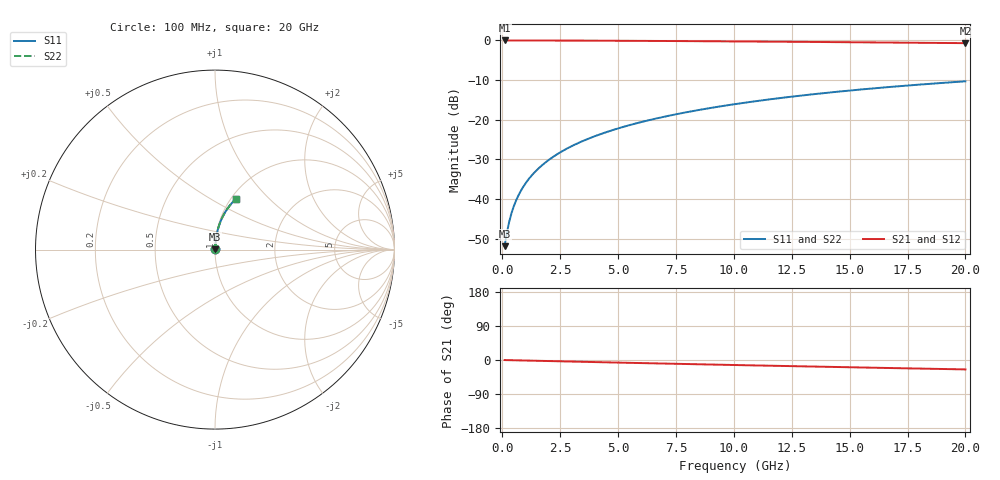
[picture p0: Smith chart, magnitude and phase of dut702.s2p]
! Touchstone file exported from HFSS 2024.1.0
!  File:  C:/UserFiles/LocalFiles/RDL_TSV_Batchsim/temp_RDL_bottom_702_1779857607.aedt
!  Generated:  12:56:21 PM May 27, 2026
!  Design:  RDL_bottom
!  Project:  temp_RDL_bottom_702_1779857607
!  Setup:  Setup1
!  Solution:  Sweep
! Variables:
!  dtsv = 10.80580581um
!  hbump = 3um
!  htsv = 78.32um
!  ldown = 282.36um
!  lrdl = 100um
!  p = 40
!  p1 = 52.96um
!  rhole = 1um
!  t = 450um
!  tdown = 3.73um
!  trdl = 3.915915916um
!  wdown = 14.58um
!  wrdl = 20um
# GHz S MA R 50.000000
! Terminal data exported
! Port[1] = RDL1_T1
! Port[2] = RDL1_T2
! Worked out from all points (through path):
!   200 points, 100 MHz to 20 GHz, reference 50 ohm
!   highest |S21| = -0.02 dB at 100 MHz (marker M1); lowest = -0.7 dB at 20 GHz (marker M2)
!   group delay of S21, straight-line fit = 3.44 ps
!   lowest |S11| = -51.8 dB at 100 MHz (marker M3), VSWR 1.01, Z = 50.2 + j0.162 ohm
!   |S11| at or under -10 dB: start of sweep to end of sweep
!   |S22| runs from -51.8 to -10.3 dB; largest |S21 - S12| = 2.6e-15
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0.1  0.002556 39.0  0.998 -0.1  0.998 -0.1  0.002556 39.0
! Gamma 0 0 0 0
! Port Impedance 50 0 50 0
0.2  0.003793 57.7  0.998 -0.3  0.998 -0.3  0.003793 57.7
0.3  0.005215 66.4  0.9979 -0.4  0.9979 -0.4  0.005215 66.4
0.4  0.006689 71.3  0.9978 -0.6  0.9978 -0.6  0.006689 71.3
0.5  0.008182 74.3  0.9978 -0.7  0.9978 -0.7  0.008182 74.3
0.6  0.009684 76.5  0.9977 -0.8  0.9977 -0.8  0.009684 76.5
0.8  0.01271 79.2  0.9975 -1.1  0.9975 -1.1  0.01271 79.2
1.1  0.01727 81.5  0.9973 -1.5  0.9973 -1.5  0.01727 81.5
1.5  0.02339 83.1  0.9969 -2.1  0.9969 -2.1  0.02339 83.1
1.8  0.028 83.7  0.9965 -2.5  0.9965 -2.5  0.028 83.7
2.1  0.03263 84.1  0.9961 -2.9  0.9961 -2.9  0.03263 84.1
2.7  0.04191 84.5  0.9951 -3.7  0.9951 -3.7  0.04191 84.5
3.5  0.05435 84.5  0.9934 -4.8  0.9934 -4.8  0.05435 84.4
4.2  0.06528 84.2  0.9917 -5.8  0.9917 -5.8  0.06528 84.2
5  0.07783 83.7  0.9894 -6.8  0.9894 -6.8  0.07783 83.7
5.9  0.09199 83.1  0.9866 -8.0  0.9866 -8.0  0.09199 83.1
6.8  0.1062 82.3  0.9835 -9.2  0.9835 -9.2  0.1062 82.3
8.3  0.1299 80.9  0.9779 -11.1  0.9779 -11.1  0.1299 80.9
10.1  0.1582 79.0  0.9706 -13.3  0.9706 -13.3  0.1582 79.0
13.4  0.2093 75.3  0.956 -17.3  0.956 -17.3  0.2093 75.3
16.7  0.2584 71.5  0.9401 -21.1  0.9401 -21.1  0.2584 71.5
20  0.3051 67.7  0.9231 -24.8  0.9231 -24.8  0.305 67.7
